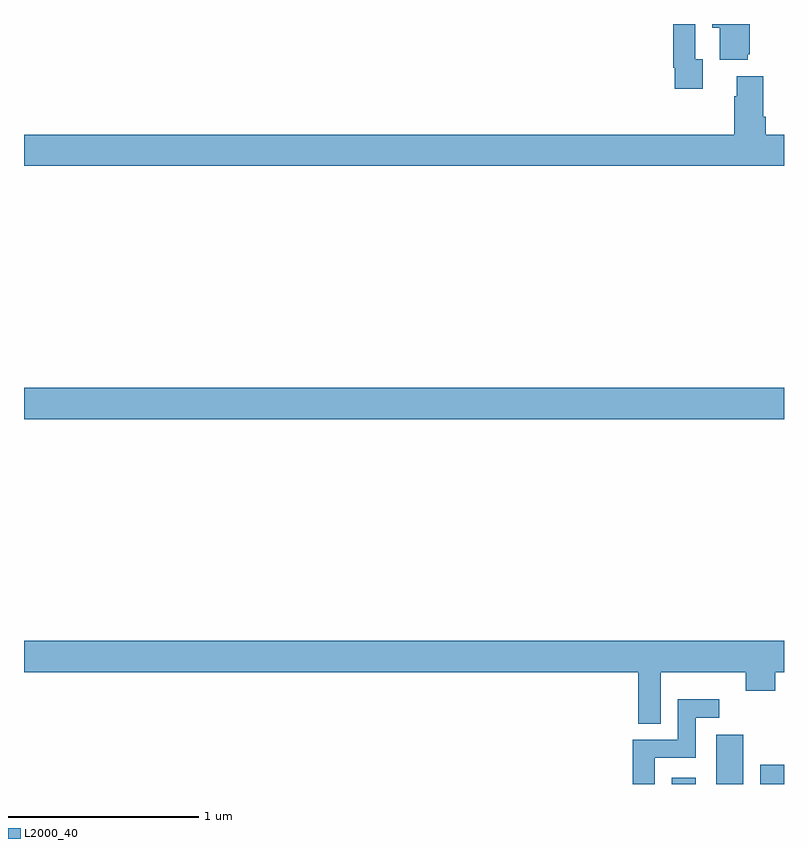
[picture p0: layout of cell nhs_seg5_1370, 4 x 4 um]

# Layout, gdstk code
import gdstk
lib = gdstk.Library(unit=1e-6, precision=1e-09)
def R(c, l, rs):  # rectangles x0, y0, x1, y1
    for r in rs: c.add(gdstk.rectangle(r[:2], r[2:], *l))
def P(c, l, *ps):  # polygons
    for p in ps: c.add(gdstk.Polygon(p, *l))
L2000_40 = (2000, 40)

nhs_seg5_1370 = lib.new_cell('nhs_seg5_1370')
R(nhs_seg5_1370, L2000_40, [(196.409,894.799,196.536,894.832), (196.643,894.799,196.786,895.057), (196.874,894.799,197,894.9), (193,896.72,197,896.884), (196.929,898.797,197,898.799)])
P(nhs_seg5_1370, L2000_40, [(196.573,898.614),(196.533,898.614),(196.533,898.799),(196.417,898.799),(196.417,898.57),(196.425,898.57),(196.425,898.458),(196.573,898.458)],
  [(196.808,898.641),(196.819,898.641),(196.819,898.799),(196.622,898.799),(196.622,898.778),(196.661,898.778),(196.661,898.61),(196.808,898.61)],
  [(197,898.216),(196.904,898.216),(196.904,898.312),(196.891,898.312),(196.891,898.525),(196.751,898.525),(196.751,898.418),(196.739,898.418),(196.739,898.216),(193,898.216),(193,898.052),(197,898.052)],
  [(196.351,895.388),(196.798,895.388),(196.798,895.289),(196.953,895.289),(196.953,895.388),(197,895.388),(197,895.552),(193,895.552),(193,895.388),(196.233,895.388),(196.233,895.117),(196.351,895.117)],
  [(196.321,894.936),(196.536,894.936),(196.536,895.149),(196.66,895.149),(196.66,895.246),(196.44,895.246),(196.44,895.032),(196.203,895.032),(196.203,894.799),(196.321,894.799)])

lib.write_gds('nhs_seg5_1370.gds')
